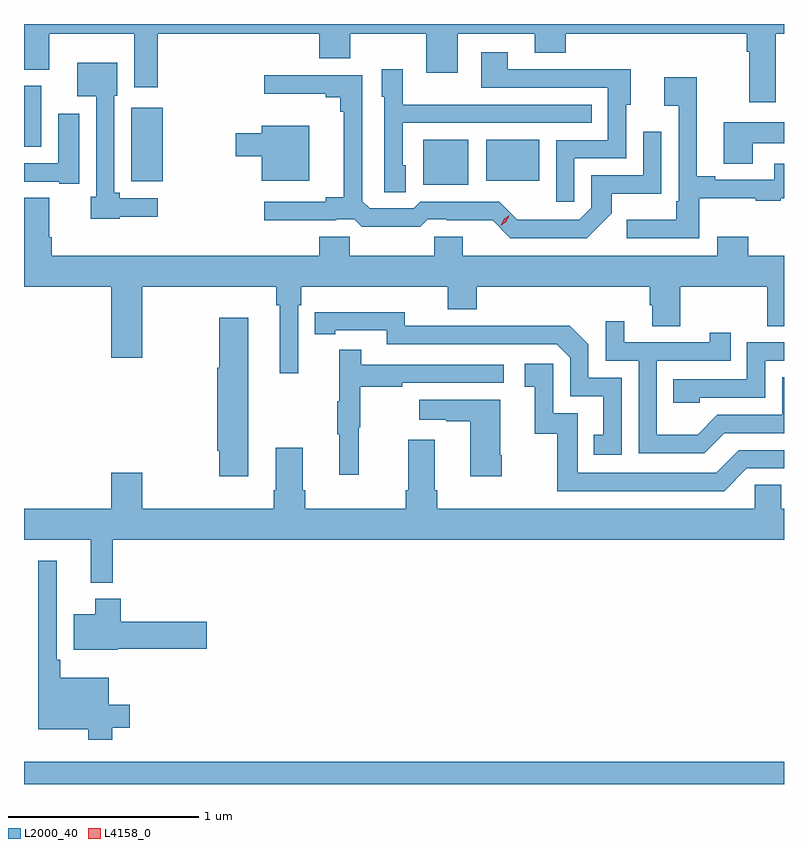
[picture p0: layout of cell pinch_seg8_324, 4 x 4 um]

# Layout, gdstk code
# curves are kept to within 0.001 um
import gdstk
lib = gdstk.Library(unit=1e-6, precision=1e-09)
def R(c, l, rs):  # rectangles x0, y0, x1, y1
    for r in rs: c.add(gdstk.rectangle(r[:2], r[2:], *l))
def P(c, l, *ps):  # polygons
    for p in ps: c.add(gdstk.Polygon(p, *l))
L2000_40 = (2000, 40)
L4158_0 = (4158, 0)

pinch_seg8_324 = lib.new_cell('pinch_seg8_324')
R(pinch_seg8_324, L2000_40, [(464.249,1151.179,468.249,1151.296), (466.349,1154.333,466.588,1154.569), (464.813,1154.351,464.98,1154.737), (466.682,1154.354,466.96,1154.569), (464.249,1154.534,464.341,1154.854)])
P(pinch_seg8_324, L2000_40, [(464.249,1154.939),(464.383,1154.939),(464.383,1155.128),(464.828,1155.128),(464.828,1154.847),(464.954,1154.847),(464.954,1155.128),(465.803,1155.128),(465.803,1155),(465.967,1155),(465.967,1155.128),(466.367,1155.128),(466.367,1154.922),(466.531,1154.922),(466.531,1155.128),(466.937,1155.128),(466.937,1155.029),(467.101,1155.029),(467.101,1155.128),(468.053,1155.128),(468.053,1155.032),(468.065,1155.032),(468.065,1154.766),(468.205,1154.766),(468.205,1155.128),(468.249,1155.128),(468.249,1155.179),(464.249,1155.179)],
  [(467.145,1154.472),(467.418,1154.472),(467.418,1154.754),(467.443,1154.754),(467.443,1154.942),(467.225,1154.942),(467.225,1154.94),(466.795,1154.94),(466.795,1155.031),(466.655,1155.031),(466.655,1154.844),(467.322,1154.844),(467.322,1154.568),(467.049,1154.568),(467.049,1154.244),(467.145,1154.244)],
  [(464.754,1154.165),(464.953,1154.165),(464.953,1154.262),(464.754,1154.262),(464.754,1154.29),(464.724,1154.29),(464.724,1154.802),(464.74,1154.802),(464.74,1154.974),(464.528,1154.974),(464.528,1154.798),(464.628,1154.798),(464.628,1154.271),(464.6,1154.271),(464.6,1154.153),(464.754,1154.153)],
  [(466.258,1154.436),(466.242,1154.436),(466.242,1154.658),(467.237,1154.658),(467.237,1154.754),(466.559,1154.754),(466.559,1154.755),(466.242,1154.755),(466.242,1154.941),(466.133,1154.941),(466.133,1154.796),(466.146,1154.796),(466.146,1154.293),(466.258,1154.293)],
  [(467.343,1154.183),(467.343,1154.285),(467.604,1154.285),(467.604,1154.611),(467.508,1154.611),(467.508,1154.382),(467.235,1154.382),(467.235,1154.211),(467.172,1154.148),(466.948,1154.148),(466.948,1154.15),(466.844,1154.15),(466.749,1154.244),(466.335,1154.244),(466.299,1154.208),(466.068,1154.208),(466.029,1154.247),(466.029,1154.91),(465.513,1154.91),(465.513,1154.813),(465.836,1154.813),(465.836,1154.794),(465.913,1154.794),(465.913,1154.717),(465.932,1154.717),(465.932,1154.267),(465.836,1154.267),(465.836,1154.244),(465.513,1154.244),(465.513,1154.147),(465.893,1154.147),(465.893,1154.151),(465.987,1154.151),(466.027,1154.112),(466.335,1154.112),(466.374,1154.151),(466.474,1154.151),(466.474,1154.147),(466.715,1154.147),(466.809,1154.052),(467.212,1154.052)],
  [(467.803,1154.261),(468.101,1154.261),(468.101,1154.25),(468.233,1154.25),(468.233,1154.262),(468.249,1154.262),(468.249,1154.443),(468.197,1154.443),(468.197,1154.358),(467.887,1154.358),(467.887,1154.377),(467.791,1154.377),(467.791,1154.899),(467.619,1154.899),(467.619,1154.75),(467.694,1154.75),(467.694,1154.245),(467.682,1154.245),(467.682,1154.149),(467.421,1154.149),(467.421,1154.052),(467.803,1154.052)],
  [(464.539,1154.707),(464.429,1154.707),(464.429,1154.445),(464.249,1154.445),(464.249,1154.349),(464.435,1154.349),(464.435,1154.337),(464.539,1154.337)],
  [(468.085,1154.552),(468.249,1154.552),(468.249,1154.662),(467.933,1154.662),(467.933,1154.443),(468.085,1154.443)],
  [(465.751,1154.644),(465.5,1154.644),(465.5,1154.605),(465.363,1154.605),(465.363,1154.483),(465.5,1154.483),(465.5,1154.354),(465.751,1154.354)],
  [(464.396,1154.056),(464.383,1154.056),(464.383,1154.264),(464.249,1154.264),(464.249,1153.796),(464.708,1153.796),(464.708,1153.422),(464.872,1153.422),(464.872,1153.796),(465.577,1153.796),(465.577,1153.7),(465.596,1153.7),(465.596,1153.341),(465.693,1153.341),(465.693,1153.7),(465.707,1153.7),(465.707,1153.796),(466.478,1153.796),(466.478,1153.679),(466.631,1153.679),(466.631,1153.796),(467.543,1153.796),(467.543,1153.698),(467.555,1153.698),(467.555,1153.588),(467.703,1153.588),(467.703,1153.796),(468.16,1153.796),(468.16,1153.588),(468.249,1153.588),(468.249,1153.96),(468.061,1153.96),(468.061,1154.059),(467.897,1154.059),(467.897,1153.96),(466.558,1153.96),(466.558,1154.058),(466.408,1154.058),(466.408,1153.96),(465.963,1153.96),(465.963,1154.058),(465.803,1154.058),(465.803,1153.96),(464.396,1153.96)],
  [(467.394,1153.317),(467.22,1153.317),(467.22,1153.494),(467.122,1153.592),(466.714,1153.592),(466.714,1153.59),(466.254,1153.59),(466.254,1153.663),(465.778,1153.662),(465.778,1153.546),(465.886,1153.546),(465.886,1153.566),(466.158,1153.566),(466.158,1153.494),(467.052,1153.494),(467.124,1153.422),(467.124,1153.221),(467.297,1153.221),(467.297,1153.017),(467.248,1153.017),(467.248,1152.912),(467.394,1152.912)],
  [(465.43,1153.633),(465.277,1153.633),(465.277,1153.369),(465.266,1153.369),(465.266,1152.933),(465.277,1152.933),(465.277,1152.798),(465.43,1152.798)],
  [(467.935,1153.026),(468.249,1153.026),(468.249,1153.321),(468.24,1153.321),(468.24,1153.122),(467.898,1153.122),(467.794,1153.018),(467.58,1153.018),(467.58,1153.407),(467.969,1153.407),(467.969,1153.555),(467.858,1153.555),(467.858,1153.503),(467.407,1153.503),(467.407,1153.615),(467.31,1153.615),(467.31,1153.407),(467.484,1153.407),(467.484,1152.921),(467.83,1152.921)],
  [(467.805,1153.212),(468.15,1153.212),(468.15,1153.407),(468.249,1153.407),(468.249,1153.503),(468.054,1153.503),(468.054,1153.308),(467.665,1153.308),(467.665,1153.185),(467.805,1153.185)],
  [(466.01,1153.056),(466.018,1153.056),(466.018,1153.27),(466.241,1153.27),(466.241,1153.29),(466.774,1153.29),(466.774,1153.386),(466.025,1153.386),(466.025,1153.465),(465.908,1153.465),(465.908,1153.193),(465.897,1153.193),(465.897,1153.019),(465.908,1153.019),(465.908,1152.807),(466.01,1152.807)],
  [(468.054,1152.84),(468.249,1152.84),(468.249,1152.936),(468.012,1152.936),(467.892,1152.816),(467.163,1152.816),(467.163,1153.131),(467.034,1153.131),(467.034,1153.39),(466.884,1153.39),(466.884,1153.269),(466.937,1153.269),(466.937,1153.023),(467.055,1153.023),(467.055,1152.72),(467.934,1152.72)],
  [(466.764,1152.91),(466.756,1152.91),(466.756,1153.201),(466.329,1153.201),(466.329,1153.097),(466.472,1153.097),(466.472,1153.087),(466.598,1153.087),(466.598,1152.798),(466.764,1152.798)],
  [(464.717,1152.464),(468.249,1152.464),(468.249,1152.628),(468.235,1152.628),(468.235,1152.755),(468.096,1152.755),(468.096,1152.628),(466.424,1152.628),(466.424,1152.724),(466.411,1152.724),(466.411,1152.991),(466.271,1152.991),(466.271,1152.724),(466.259,1152.724),(466.259,1152.628),(465.728,1152.628),(465.728,1152.724),(465.715,1152.724),(465.715,1152.949),(465.575,1152.949),(465.575,1152.724),(465.563,1152.724),(465.563,1152.628),(464.872,1152.628),(464.872,1152.817),(464.708,1152.817),(464.708,1152.628),(464.249,1152.628),(464.249,1152.464),(464.6,1152.464),(464.6,1152.239),(464.717,1152.239)],
  [(464.714,1151.474),(464.806,1151.474),(464.806,1151.596),(464.695,1151.596),(464.695,1151.737),(464.441,1151.737),(464.441,1151.833),(464.421,1151.833),(464.421,1152.355),(464.324,1152.355),(464.324,1151.468),(464.586,1151.468),(464.586,1151.411),(464.714,1151.411)],
  [(464.742,1151.891),(465.211,1151.891),(465.211,1152.033),(464.759,1152.033),(464.759,1152.154),(464.624,1152.154),(464.624,1152.073),(464.51,1152.073),(464.51,1151.885),(464.742,1151.885)])
P(pinch_seg8_324, L4158_0, [(466.757,1154.118),(466.757,1154.118),(466.773,1154.152),(466.804,1154.173),(466.804,1154.173),(466.804,1154.172),(466.788,1154.139),(466.757,1154.118)])

lib.write_gds('pinch_seg8_324.gds')
